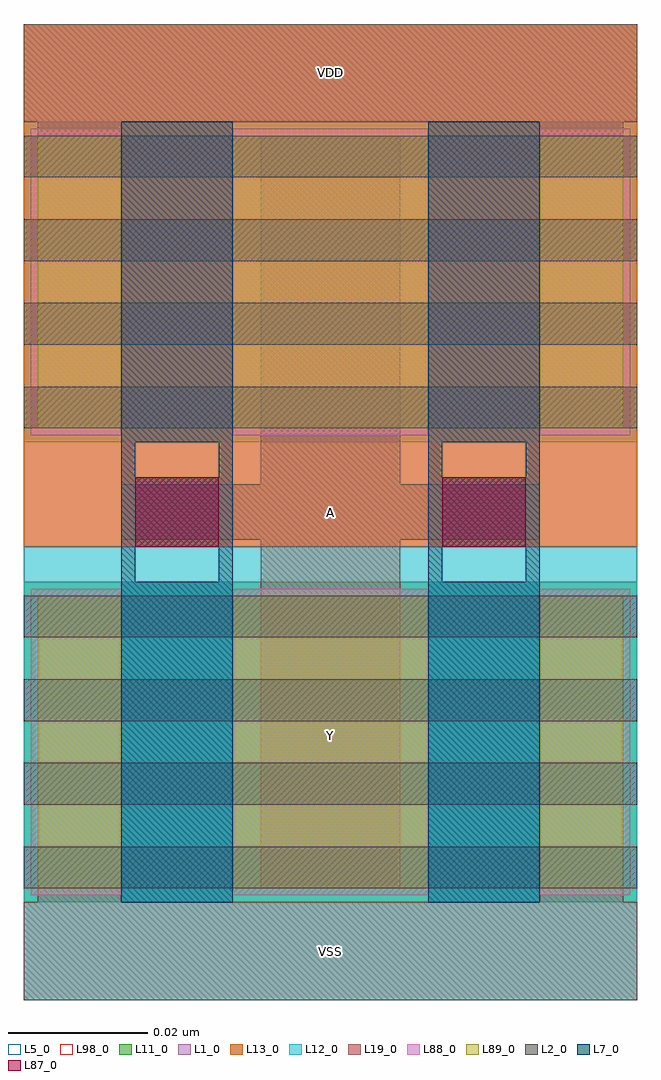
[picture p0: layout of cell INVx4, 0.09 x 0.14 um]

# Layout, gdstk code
import gdstk
lib = gdstk.Library(unit=1e-6, precision=1e-12)
def R(c, l, rs):  # rectangles x0, y0, x1, y1
    for r in rs: c.add(gdstk.rectangle(r[:2], r[2:], *l))
def A(c, l, x, y, w, h, nx, ny, dx, dy):  # array of equal rectangles
    R(c, l, [(x+i*dx, y+j*dy, x+i*dx+w, y+j*dy+h) for i in range(nx) for j in range(ny)])
L1_0 = (1, 0)
L2_0 = (2, 0)
L5_0 = (5, 0)
L7_0 = (7, 0)
L11_0 = (11, 0)
L12_0 = (12, 0)
L13_0 = (13, 0)
L19_0 = (19, 0)
L87_0 = (87, 0)
L88_0 = (88, 0)
L89_0 = (89, 0)
L98_0 = (98, 0)

invx4 = lib.new_cell('INVx4')
R(invx4, L1_0, [(0,0.065,0.088,0.14)])
A(invx4, L2_0, 0, 0.016, 0.088, 0.006, 1, 4, 0, 0.012)
A(invx4, L2_0, 0, 0.082, 0.088, 0.006, 1, 4, 0, 0.012)
R(invx4, L5_0, [(0,0,0.088,0.14)])
R(invx4, L7_0, [(0.014,0.014,0.03,0.06), (0.058,0.014,0.074,0.06), (0.014,0.06,0.016,0.08), (0.028,0.06,0.03,0.08), (0.058,0.06,0.06,0.08), (0.072,0.06,0.074,0.08), (0.014,0.065,0.03,0.075), (0.058,0.065,0.074,0.075), (0.014,0.08,0.03,0.126), (0.058,0.08,0.074,0.126)])
R(invx4, L11_0, [(0,0.014,0.088,0.06), (0,0.08,0.088,0.126)])
R(invx4, L12_0, [(0,0,0.088,0.065)])
R(invx4, L13_0, [(0,0.065,0.088,0.14)])
R(invx4, L19_0, [(0,0,0.088,0.014), (0.002,0.014,0.014,0.016), (0.074,0.014,0.086,0.016), (0.034,0.016,0.054,0.124), (0.014,0.066,0.074,0.074), (0.002,0.124,0.014,0.126), (0.074,0.124,0.086,0.126), (0,0.126,0.088,0.14)])
R(invx4, L87_0, [(0.016,0.065,0.028,0.075), (0.06,0.065,0.072,0.075)])
R(invx4, L88_0, [(0.001,0.015,0.014,0.059), (0.03,0.015,0.058,0.059), (0.074,0.015,0.087,0.059), (0.001,0.081,0.014,0.125), (0.03,0.081,0.058,0.125), (0.074,0.081,0.087,0.125)])
R(invx4, L89_0, [(0.002,0.016,0.014,0.058), (0.03,0.016,0.058,0.058), (0.074,0.016,0.086,0.058), (0.002,0.082,0.014,0.124), (0.03,0.082,0.058,0.124), (0.074,0.082,0.086,0.124)])
R(invx4, L98_0, [(0,0,0.088,0.14)])
invx4.add(gdstk.Label('A', (0.044,0.07), layer=101, texttype=0))
invx4.add(gdstk.Label('Y', (0.044,0.038), layer=101, texttype=0))
invx4.add(gdstk.Label('VDD', (0.044,0.133), layer=101, texttype=0))
invx4.add(gdstk.Label('VSS', (0.044,0.007), layer=101, texttype=0))

lib.write_gds('INVx4.gds')
